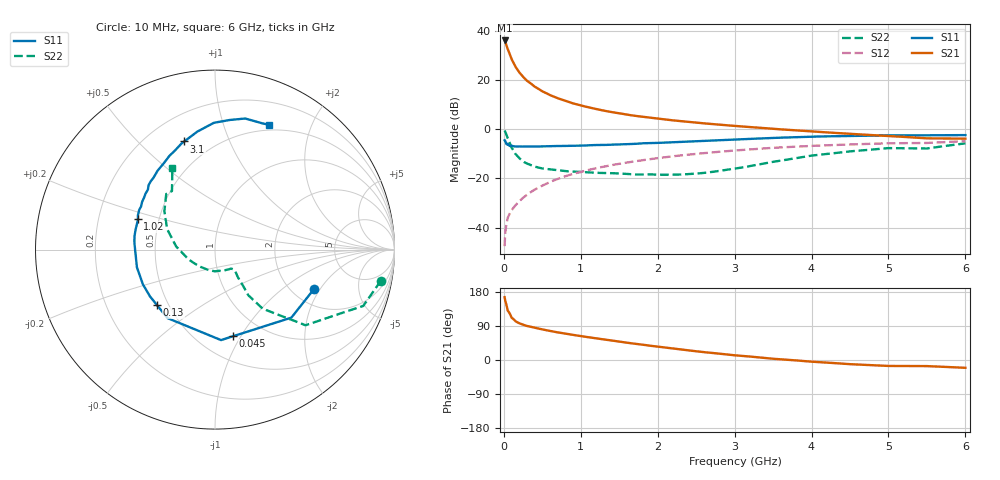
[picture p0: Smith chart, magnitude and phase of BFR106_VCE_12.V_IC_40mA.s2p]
! Infineon Technologies  Discrete & RF Semiconductors
! BFR106
! VCE =  12. V,  IC =  40 mA
! Common Emitter S-Parameters:  Nov 2015
# GHz  S  MA  R  50
!  f  S11  S21  S12  S22
! GHz  MAG  ANG  MAG  ANG  MAG  ANG  MAG  ANG
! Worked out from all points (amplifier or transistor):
!   210 points, 10 MHz to 6 GHz, reference 50 ohm
!   highest |S21| = 36.0 dB at 10 MHz (marker M1)
!   |S21| within 3 dB of that: start of sweep to 44.7 MHz
!   unconditionally stable (mu >= 1): 310.5 MHz to 2.257 GHz
!   at 185 MHz: K = 0.87, MSG = 26.8 dB, |S12| = -29.8 dB
!   at 1.52 GHz: K = 1.06, MAG = 8.7 dB, |S12| = -14.0 dB
!   at 6 GHz: K = 0.97, MSG = 0.5 dB, |S12| = -4.9 dB
!   S11 on the Smith chart (normalised r, x): 10 MHz: 2.59, -1.76; 45 MHz: 0.72, -0.92; 130 MHz: 0.43, -0.33; 1.02 GHz: 0.38, +0.16; 3.1 GHz: 0.35, +0.69; 6 GHz: 0.44, +1.43
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0.01  0.5936 -21.8  63.31 165.8  0.0042 81.3  0.9398 -10.7
0.02  0.5698 -41.7  59.04 154.7  0.0084 71.4  0.8837 -20.8
0.045  0.4933 -78.4  44.68 135.6  0.0145 62.2  0.6884 -35.9
0.05  0.5053 -86.2  42.64 130.4  0.0157 61.2  0.6571 -39.9
0.1  0.4645 -124.8  26.43 111.8  0.0224 58.0  0.4227 -51.1
0.13  0.4473 -136.3  21.62 106.9  0.0259 59.2  0.3576 -52.6
0.15  0.4463 -144.2  18.54 102.2  0.0282 59.9  0.3143 -53.9
0.2  0.4459 -154.2  14.29 96.9  0.0341 62.7  0.2586 -52.3
0.24  0.4431 -160.6  12.05 93.7  0.0391 64.6  0.2275 -51.5
0.26  0.4436 -163.2  11.12 92.2  0.0416 65.4  0.2159 -51.1
0.3  0.4461 -167.1  9.64 89.8  0.0463 67.0  0.2005 -50.4
0.4  0.4433 -175.2  7.316 85.0  0.059 68.8  0.1734 -47.8
0.5  0.4465 179.4  5.87 80.5  0.0712 69.4  0.159 -46.4
0.6  0.4516 174.3  4.925 76.6  0.0846 69.7  0.1526 -46.6
0.8  0.4564 166.1  3.737 69.6  0.1106 68.6  0.1404 -49.0
1.02  0.4625 158.3  2.973 62.5  0.1381 66.8  0.1353 -53.7
1.4  0.485 147.0  2.221 51.5  0.1857 62.8  0.1277 -66.7
2.02  0.5271 130.5  1.623 34.8  0.2602 54.8  0.1187 -98.6
3.1  0.6263 105.9  1.133 10.8  0.3778 39.7  0.1669 -166.4
4.1  0.7097 89.1  0.88 -5.6  0.4646 25.3  0.3013 153.6
5.1  0.7488 75.7  0.711 -15.8  0.5179 12.1  0.4104 130.2
6  0.7572 66.7  0.641 -20.6  0.5701 1.9  0.5146 117.5
